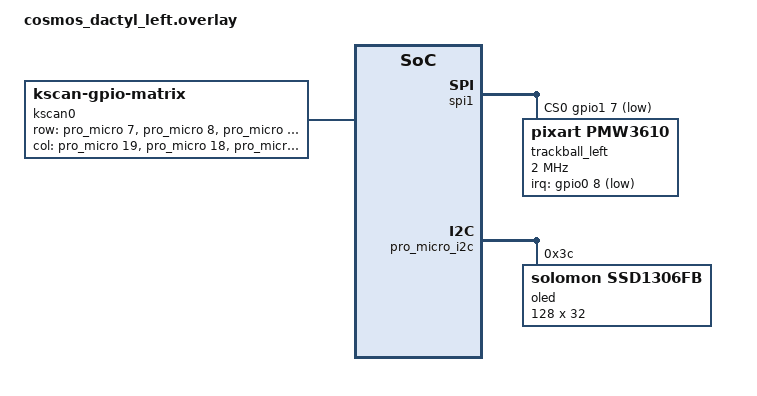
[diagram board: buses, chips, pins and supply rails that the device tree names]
/*
 * Copyright (c) 2020 Ryan Cross
 *
 * SPDX-License-Identifier: MIT
 */

#include "cosmos_dactyl.dtsi"

#include <zephyr/dt-bindings/input/input-event-codes.h>

&spi1 {
    cs-gpios = <&gpio1 7 GPIO_ACTIVE_LOW>;

    trackball_left: trackball_left@0 {
        status = "okay";
        compatible = "pixart,pmw3610";
        reg = <0>;
        spi-max-frequency = <2000000>;
        irq-gpios = <&gpio0 8 (GPIO_ACTIVE_LOW | GPIO_PULL_UP)>;
        cpi = <600>;
        evt-type = <INPUT_EV_REL>;
        x-input-code = <INPUT_REL_X>;
        y-input-code = <INPUT_REL_Y>;

        force-awake;
        /* keep the sensor awake while ZMK activity state is ACTIVE,
           fallback to normal downshift mode after ZMK goes into IDLE / SLEEP mode.
           thus, the sensor would be a `wakeup-source` */
    };
};

/*
/ {
  scrollball_listener {
    status = "okay";
    device = <&trackball_left>;
  };
};
*/

&pro_micro_i2c {
    status = "okay";

    oled: ssd1306@3c {
        compatible = "solomon,ssd1306fb";
        reg = <0x3c>;
        width = <128>;
        height = <32>;
        segment-offset = <0>;
        page-offset = <0>;
        display-offset = <0>;
        multiplex-ratio = <31>;
        segment-remap;
        com-invdir;
        com-sequential;
        inversion-on;
        prechargep = <0x22>;
    };
};

/ {
    chosen {
        zephyr,display = &oled;
        zmk,kscan = &kscan0;
    };
    
    kscan0: kscan {
        compatible = "zmk,kscan-gpio-matrix";
        wakeup-source;

        diode-direction = "col2row";

    row-gpios
        = <&pro_micro 7 (GPIO_ACTIVE_HIGH | GPIO_PULL_DOWN)>
        , <&pro_micro 8 (GPIO_ACTIVE_HIGH | GPIO_PULL_DOWN)>
        , <&pro_micro 9 (GPIO_ACTIVE_HIGH | GPIO_PULL_DOWN)>
        , <&pro_micro 20 (GPIO_ACTIVE_HIGH | GPIO_PULL_DOWN)>
        , <&pro_micro 21 (GPIO_ACTIVE_HIGH | GPIO_PULL_DOWN)>
        , <&pro_micro 6 (GPIO_ACTIVE_HIGH | GPIO_PULL_DOWN)>
        ;

    col-gpios
        = <&pro_micro 19 GPIO_ACTIVE_HIGH>
        , <&pro_micro 18 GPIO_ACTIVE_HIGH>
        , <&pro_micro 15 GPIO_ACTIVE_HIGH>
        , <&pro_micro 14 GPIO_ACTIVE_HIGH>
        , <&pro_micro 16 GPIO_ACTIVE_HIGH>
        , <&pro_micro 10 GPIO_ACTIVE_HIGH>
        ;
    };
};
